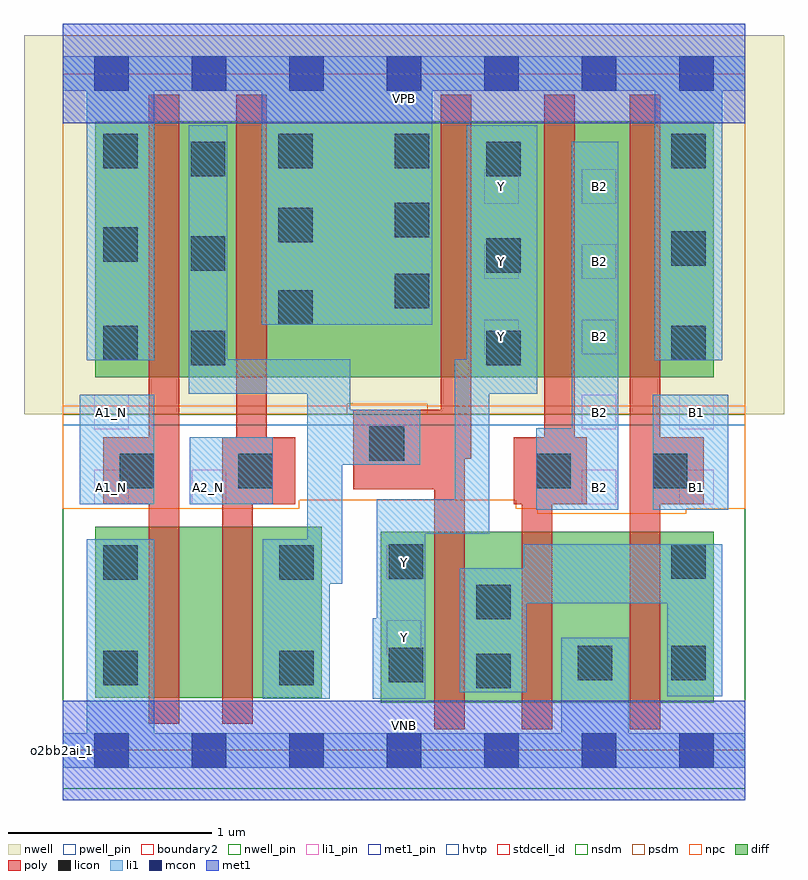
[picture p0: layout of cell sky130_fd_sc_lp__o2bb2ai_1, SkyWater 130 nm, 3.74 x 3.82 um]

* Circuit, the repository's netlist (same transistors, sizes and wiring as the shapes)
* Copyright 2020 The SkyWater PDK Authors
*
* Licensed under the Apache License, Version 2.0 (the "License");
* you may not use this file except in compliance with the License.
* You may obtain a copy of the License at
*
*     https://www.apache.org/licenses/LICENSE-2.0
*
* Unless required by applicable law or agreed to in writing, software
* distributed under the License is distributed on an "AS IS" BASIS,
* WITHOUT WARRANTIES OR CONDITIONS OF ANY KIND, either express or implied.
* See the License for the specific language governing permissions and
* limitations under the License.
*
* SPDX-License-Identifier: Apache-2.0

.SUBCKT sky130_fd_sc_lp__o2bb2ai_1 A1_N A2_N B1 B2 VGND VNB VPB VPWR Y
*.PININFO A1_N:I A2_N:I B1:I B2:I VGND:I VNB:I VPB:I VPWR:I Y:O
MMNnand0 VGND A1_N sndNA1N VNB sky130_fd_pr__nfet_01v8 m=1 w=0.84U l=0.15U mult=1
+ sa=0.265 sb=0.265 sd=0.28 area=0.063 perim=1.14
MMNnand1 sndNA1N A2_N inand VNB sky130_fd_pr__nfet_01v8 m=1 w=0.84U l=0.15U mult=1
+ sa=0.265 sb=0.265 sd=0.28 area=0.063 perim=1.14
MMNaoi10 nmid B1 VGND VNB sky130_fd_pr__nfet_01v8 m=1 w=0.84U l=0.15U mult=1 sa=0.265
+ sb=0.265 sd=0.28 area=0.063 perim=1.14
MMNaoi11 nmid B2 VGND VNB sky130_fd_pr__nfet_01v8 m=1 w=0.84U l=0.15U mult=1 sa=0.265
+ sb=0.265 sd=0.28 area=0.063 perim=1.14
MMNaoi20 Y inand nmid VNB sky130_fd_pr__nfet_01v8 m=1 w=0.84U l=0.15U mult=1 sa=0.265
+ sb=0.265 sd=0.28 area=0.063 perim=1.14
MMPnand0 inand A1_N VPWR VPB sky130_fd_pr__pfet_01v8_hvt m=1 w=1.26U l=0.15U mult=1
+ sa=0.265 sb=0.265 sd=0.28 area=0.063 perim=1.14
MMPnand1 inand A2_N VPWR VPB sky130_fd_pr__pfet_01v8_hvt m=1 w=1.26U l=0.15U mult=1
+ sa=0.265 sb=0.265 sd=0.28 area=0.063 perim=1.14
MMPaoi10 VPWR B1 sndPB1 VPB sky130_fd_pr__pfet_01v8_hvt m=1 w=1.26U l=0.15U mult=1
+ sa=0.265 sb=0.265 sd=0.28 area=0.063 perim=1.14
MMPaoi11 sndPB1 B2 Y VPB sky130_fd_pr__pfet_01v8_hvt m=1 w=1.26U l=0.15U mult=1
+ sa=0.265 sb=0.265 sd=0.28 area=0.063 perim=1.14
MMPaoi20 Y inand VPWR VPB sky130_fd_pr__pfet_01v8_hvt m=1 w=1.26U l=0.15U mult=1
+ sa=0.265 sb=0.265 sd=0.28 area=0.063 perim=1.14
.ENDS sky130_fd_sc_lp__o2bb2ai_1

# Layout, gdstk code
import gdstk
lib = gdstk.Library(unit=1e-6, precision=1e-09)
def R(c, l, rs):  # rectangles x0, y0, x1, y1
    for r in rs: c.add(gdstk.rectangle(r[:2], r[2:], *l))
def A(c, l, x, y, w, h, nx, ny, dx, dy):  # array of equal rectangles
    R(c, l, [(x+i*dx, y+j*dy, x+i*dx+w, y+j*dy+h) for i in range(nx) for j in range(ny)])
def P(c, l, *ps):  # polygons
    for p in ps: c.add(gdstk.Polygon(p, *l))
nwell_pin = (64, 16)
nwell = (64, 20)
diff = (65, 20)
poly = (66, 20)
licon = (66, 44)
li1_pin = (67, 16)
li1 = (67, 20)
mcon = (67, 44)
met1_pin = (68, 16)
met1 = (68, 20)
hvtp = (78, 44)
stdcell_id = (81, 4)
nsdm = (93, 44)
psdm = (94, 20)
npc = (95, 20)
pwell_pin = (122, 16)
boundary2 = (236, 0)

sky130_fd_sc_lp__o2bb2ai = lib.new_cell('sky130_fd_sc_lp__o2bb2ai_1')
R(sky130_fd_sc_lp__o2bb2ai, nwell_pin, [(0,3.085,3.36,3.33)])
R(sky130_fd_sc_lp__o2bb2ai, nwell, [(-0.19,1.655,3.55,3.52)])
R(sky130_fd_sc_lp__o2bb2ai, diff, [(1.565,0.235,3.205,1.075), (0.16,0.26,1.275,1.1), (0.16,1.835,3.205,3.095)])
P(sky130_fd_sc_lp__o2bb2ai, poly, [(0.575,3.225),(0.425,3.225),(0.425,1.54),(0.2,1.54),(0.2,1.21),(0.425,1.21),(0.425,0.13),(0.575,0.13)],
  [(1.145,1.54),(1.005,1.54),(1.005,3.225),(0.855,3.225),(0.855,1.54),(0.785,1.54),(0.785,0.13),(0.935,0.13),(0.935,1.21),(1.145,1.21)],
  [(2.58,1.54),(2.52,1.54),(2.52,3.225),(2.37,3.225),(2.37,1.54),(2.22,1.54),(2.22,1.21),(2.26,1.21),(2.26,0.105),(2.41,0.105),(2.41,1.21),(2.58,1.21)],
  [(2.01,3.225),(1.86,3.225),(1.86,1.675),(1.43,1.675),(1.43,1.285),(1.83,1.285),(1.83,0.105),(1.98,0.105),(1.98,1.435),(2.01,1.435)],
  [(3.155,1.54),(2.94,1.54),(2.94,3.225),(2.79,3.225),(2.79,0.105),(2.94,0.105),(2.94,1.21),(3.155,1.21)])
A(sky130_fd_sc_lp__o2bb2ai, licon, 0.63, 1.895, 0.17, 0.17, 1, 3, 0, 0.465)
R(sky130_fd_sc_lp__o2bb2ai, licon, [(2.035,0.305,2.205,0.475), (0.2,0.32,0.37,0.49), (1.065,0.32,1.235,0.49), (1.605,0.335,1.775,0.505), (2.535,0.345,2.705,0.515), (2.995,0.345,3.165,0.515), (2.035,0.645,2.205,0.815), (0.2,0.84,0.37,1.01), (1.065,0.84,1.235,1.01), (1.605,0.845,1.775,1.015), (2.995,0.845,3.165,1.015), (0.28,1.29,0.45,1.46), (0.865,1.29,1.035,1.46), (2.33,1.29,2.5,1.46), (2.905,1.29,3.075,1.46), (1.51,1.425,1.68,1.595), (2.085,1.895,2.255,2.065), (0.2,1.92,0.37,2.09), (2.995,1.92,3.165,2.09), (1.06,2.095,1.23,2.265), (1.635,2.175,1.805,2.345), (2.085,2.35,2.255,2.52), (2.995,2.385,3.165,2.555), (0.2,2.405,0.37,2.575), (1.06,2.5,1.23,2.67), (1.635,2.525,1.805,2.695), (2.085,2.825,2.255,2.995), (0.2,2.865,0.37,3.035), (1.06,2.865,1.23,3.035), (1.635,2.865,1.805,3.035), (2.995,2.865,3.165,3.035)])
A(sky130_fd_sc_lp__o2bb2ai, li1_pin, 2.555, 1.21, 0.17, 0.17, 1, 5, 0, 0.37)
A(sky130_fd_sc_lp__o2bb2ai, li1_pin, 2.075, 1.95, 0.17, 0.17, 1, 3, 0, 0.37)
R(sky130_fd_sc_lp__o2bb2ai, li1_pin, [(1.595,0.47,1.765,0.64), (1.595,0.84,1.765,1.01), (0.155,1.21,0.325,1.38), (0.635,1.21,0.805,1.38), (3.035,1.21,3.205,1.38), (0.155,1.58,0.325,1.75), (3.035,1.58,3.205,1.75)])
R(sky130_fd_sc_lp__o2bb2ai, li1, [(2.905,1.185,3.275,1.75), (0.085,1.21,0.45,1.75), (0.625,1.21,1.035,1.54)])
P(sky130_fd_sc_lp__o2bb2ai, li1, [(3.36,3.415),(0,3.415),(0,3.245),(0.12,3.245),(0.12,1.92),(0.45,1.92),(0.45,3.245),(0.98,3.245),(0.98,2.095),(1.82,2.095),(1.82,3.245),(2.915,3.245),(2.915,1.92),(3.245,1.92),(3.245,3.245),(3.36,3.245)],
  [(2.735,2.995),(2.505,2.995),(2.505,1.585),(2.33,1.585),(2.33,1.185),(2.735,1.185)],
  [(1.76,1.675),(1.415,1.675),(1.415,1.925),(0.81,1.925),(0.81,3.075),(0.62,3.075),(0.62,1.755),(1.205,1.755),(1.205,1.04),(0.985,1.04),(0.985,0.255),(1.315,0.255),(1.315,0.82),(1.375,0.82),(1.375,1.405),(1.76,1.405)],
  [(3.245,1.015),(2.27,1.015),(2.27,0.895),(1.955,0.895),(1.955,0.285),(2.285,0.285),(2.285,0.725),(2.975,0.725),(2.975,0.265),(3.245,0.265)],
  [(2.335,3.075),(1.99,3.075),(1.99,1.925),(1.93,1.925),(1.93,1.235),(1.545,1.235),(1.545,0.65),(1.525,0.65),(1.525,0.255),(1.785,0.255),(1.785,1.065),(2.1,1.065),(2.1,1.755),(2.335,1.755)],
  [(3.36,0.085),(2.785,0.085),(2.785,0.555),(2.455,0.555),(2.455,0.085),(0.45,0.085),(0.45,1.04),(0.12,1.04),(0.12,0.085),(0,0.085),(0,-0.085),(3.36,-0.085)])
A(sky130_fd_sc_lp__o2bb2ai, mcon, 0.155, -0.085, 0.17, 0.17, 7, 2, 0.48, 3.33)
R(sky130_fd_sc_lp__o2bb2ai, met1_pin, [(0,0,3.36,0.245), (0,3.085,3.36,3.33)])
R(sky130_fd_sc_lp__o2bb2ai, met1, [(0,-0.245,3.36,0.245), (0,3.085,3.36,3.575)])
R(sky130_fd_sc_lp__o2bb2ai, hvtp, [(0,1.6,3.36,3.33)])
R(sky130_fd_sc_lp__o2bb2ai, stdcell_id, [(0,0,3.36,3.33)])
R(sky130_fd_sc_lp__o2bb2ai, nsdm, [(0,-0.19,3.36,1.655)])
P(sky130_fd_sc_lp__o2bb2ai, psdm, [(3.36,3.52),(0,3.52),(0,1.655),(1.4,1.655),(1.4,1.705),(1.795,1.705),(1.795,1.655),(3.36,1.655)])
P(sky130_fd_sc_lp__o2bb2ai, npc, [(3.36,1.695),(1.79,1.695),(1.79,1.7),(1.415,1.7),(1.415,1.695),(0,1.695),(0,1.19),(1.165,1.19),(1.165,1.23),(2.23,1.23),(2.23,1.19),(2.335,1.19),(2.335,1.165),(3.07,1.165),(3.07,1.19),(3.36,1.19)])
R(sky130_fd_sc_lp__o2bb2ai, pwell_pin, [(0,0,3.36,0.245)])
R(sky130_fd_sc_lp__o2bb2ai, boundary2, [(0,0,3.36,3.33)])
sky130_fd_sc_lp__o2bb2ai.add(gdstk.Label('VNB', (1.68,0.123), layer=64, texttype=59))
sky130_fd_sc_lp__o2bb2ai.add(gdstk.Label('VPB', (1.68,3.208), layer=64, texttype=5))
sky130_fd_sc_lp__o2bb2ai.add(gdstk.Label('o2bb2ai_1', (0,0), layer=83, texttype=44))
sky130_fd_sc_lp__o2bb2ai.add(gdstk.Label('VPWR', (1.68,3.208), layer=68, texttype=5))
sky130_fd_sc_lp__o2bb2ai.add(gdstk.Label('VGND', (1.68,0.123), layer=68, texttype=5))
sky130_fd_sc_lp__o2bb2ai.add(gdstk.Label('A1_N', (0.24,1.295), layer=67, texttype=5))
sky130_fd_sc_lp__o2bb2ai.add(gdstk.Label('A1_N', (0.24,1.665), layer=67, texttype=5))
sky130_fd_sc_lp__o2bb2ai.add(gdstk.Label('B1', (3.12,1.295), layer=67, texttype=5))
sky130_fd_sc_lp__o2bb2ai.add(gdstk.Label('B1', (3.12,1.665), layer=67, texttype=5))
sky130_fd_sc_lp__o2bb2ai.add(gdstk.Label('Y', (2.16,2.405), layer=67, texttype=5))
sky130_fd_sc_lp__o2bb2ai.add(gdstk.Label('Y', (2.16,2.035), layer=67, texttype=5))
sky130_fd_sc_lp__o2bb2ai.add(gdstk.Label('B2', (2.64,1.295), layer=67, texttype=5))
sky130_fd_sc_lp__o2bb2ai.add(gdstk.Label('B2', (2.64,1.665), layer=67, texttype=5))
sky130_fd_sc_lp__o2bb2ai.add(gdstk.Label('B2', (2.64,2.035), layer=67, texttype=5))
sky130_fd_sc_lp__o2bb2ai.add(gdstk.Label('B2', (2.64,2.405), layer=67, texttype=5))
sky130_fd_sc_lp__o2bb2ai.add(gdstk.Label('B2', (2.64,2.775), layer=67, texttype=5))
sky130_fd_sc_lp__o2bb2ai.add(gdstk.Label('A2_N', (0.72,1.295), layer=67, texttype=5))
sky130_fd_sc_lp__o2bb2ai.add(gdstk.Label('Y', (2.16,2.775), layer=67, texttype=5))
sky130_fd_sc_lp__o2bb2ai.add(gdstk.Label('Y', (1.68,0.925), layer=67, texttype=5))
sky130_fd_sc_lp__o2bb2ai.add(gdstk.Label('Y', (1.68,0.555), layer=67, texttype=5))

lib.write_gds('sky130_fd_sc_lp__o2bb2ai_1.gds')
